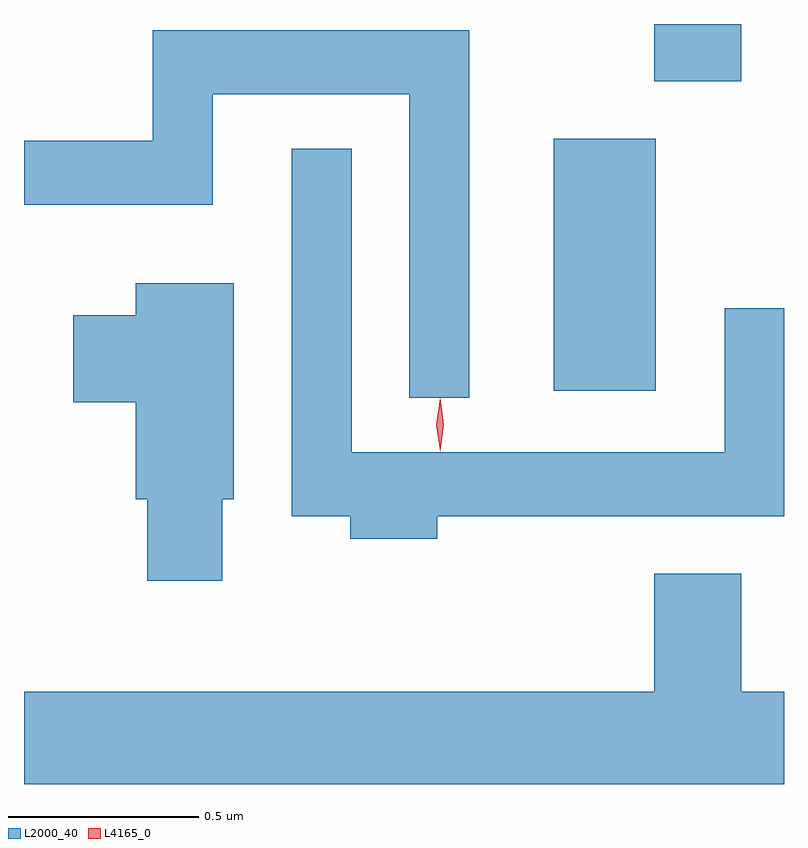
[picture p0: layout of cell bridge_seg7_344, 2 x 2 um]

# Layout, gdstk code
import gdstk
lib = gdstk.Library(unit=1e-6, precision=1e-09)
def R(c, l, rs):  # rectangles x0, y0, x1, y1
    for r in rs: c.add(gdstk.rectangle(r[:2], r[2:], *l))
def P(c, l, *ps):  # polygons
    for p in ps: c.add(gdstk.Polygon(p, *l))
L2000_40 = (2000, 40)
L4165_0 = (4165, 0)

bridge_seg7_344 = lib.new_cell('bridge_seg7_344')
R(bridge_seg7_344, L2000_40, [(1177.256,1766.436,1177.524,1767.099), (1177.521,1767.251,1177.749,1767.401)])
P(bridge_seg7_344, L2000_40, [(1177.034,1767.384),(1176.201,1767.384),(1176.201,1767.094),(1175.862,1767.094),(1175.862,1766.926),(1176.359,1766.926),(1176.359,1767.216),(1176.876,1767.216),(1176.876,1766.418),(1177.034,1766.418)],
  [(1176.949,1766.106),(1177.862,1766.106),(1177.862,1766.653),(1177.706,1766.653),(1177.706,1766.274),(1176.724,1766.274),(1176.724,1767.073),(1176.566,1767.073),(1176.566,1766.106),(1176.721,1766.106),(1176.721,1766.046),(1176.949,1766.046)],
  [(1176.384,1766.151),(1176.414,1766.151),(1176.414,1766.719),(1176.156,1766.719),(1176.156,1766.634),(1175.991,1766.634),(1175.991,1766.406),(1176.156,1766.406),(1176.156,1766.151),(1176.186,1766.151),(1176.186,1765.936),(1176.384,1765.936)],
  [(1177.862,1765.644),(1177.749,1765.644),(1177.749,1765.954),(1177.521,1765.954),(1177.521,1765.644),(1175.862,1765.644),(1175.862,1765.401),(1177.862,1765.401)])
P(bridge_seg7_344, L4165_0, [(1176.957,1766.277),(1176.957,1766.278),(1176.947,1766.347),(1176.957,1766.416),(1176.957,1766.416),(1176.958,1766.416),(1176.967,1766.347),(1176.958,1766.278)])

lib.write_gds('bridge_seg7_344.gds')
